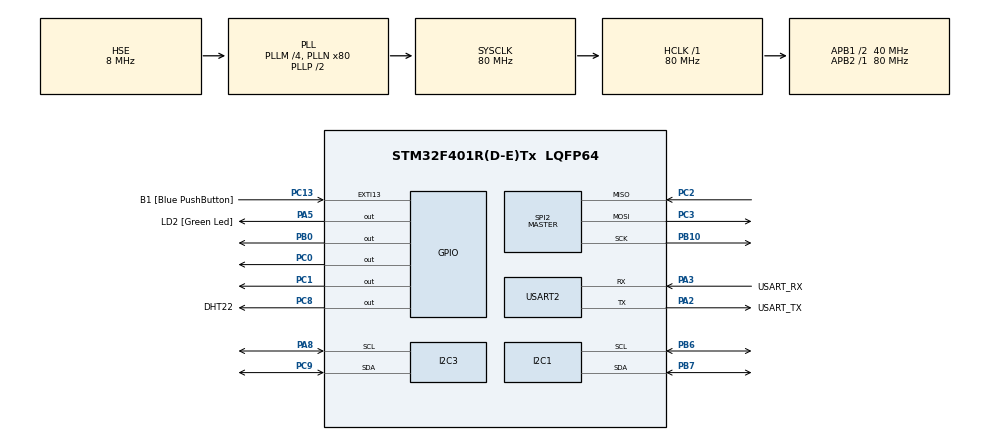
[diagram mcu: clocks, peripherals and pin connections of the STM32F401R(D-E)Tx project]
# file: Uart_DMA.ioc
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Mcu.Family=STM32F4
PC3.Mode=Full_Duplex_Master
PA2.GPIO_PuPd=GPIO_NOPULL
RCC.CortexFreq_Value=80000000
SPI2.VirtualType=VM_MASTER
PB10.Mode=Full_Duplex_Master
PA14.GPIO_Label=TCK
PA3.GPIO_PuPd=GPIO_NOPULL
PA2.GPIO_Speed=GPIO_SPEED_FREQ_LOW
PA3.GPIO_Speed=GPIO_SPEED_FREQ_LOW
RCC.SYSCLKSource=RCC_SYSCLKSOURCE_PLLCLK
ProjectManager.StackSize=0x400
PH0\ -\ OSC_IN.Signal=RCC_OSC_IN
Dma.USART2_RX.0.Priority=DMA_PRIORITY_LOW
Dma.USART2_RX.0.PeriphDataAlignment=DMA_PDATAALIGN_BYTE
RCC.HCLKFreq_Value=80000000
RCC.APB2TimFreq_Value=80000000
TIM3.Period=0xFFFF
PB6.Signal=I2C1_SCL
PB6.Mode=I2C
PC3.Signal=SPI2_MOSI
RCC.AHBFreq_Value=80000000
RCC.HSE_VALUE=8000000
PC13-ANTI_TAMP.Signal=GPXTI13
Dma.USART2_RX.0.MemDataAlignment=DMA_MDATAALIGN_BYTE
PC14-OSC32_IN.Mode=LSE-External-Oscillator
PA14.Mode=Serial_Wire
TIM3.Prescaler=83
PA5.GPIO_PuPd=GPIO_NOPULL
NVIC.TIM2_IRQn=true\:0\:0\:false\:false\:true\:true\:true
Dma.USART2_RX.0.Instance=DMA1_Stream5
PC9.Mode=I2C
PB7.Signal=I2C1_SDA
PA8.Signal=I2C3_SCL
Mcu.Package=LQFP64
TIM2.Prescaler=83
SPI2.Mode=SPI_MODE_MASTER
Dma.USART2_RX.0.PeriphInc=DMA_PINC_DISABLE
USART2.VirtualMode=VM_ASYNC
Dma.USART2_RX.0.FIFOMode=DMA_FIFOMODE_DISABLE
PA2.GPIO_Label=USART_TX
RCC.APB1TimFreq_Value=80000000
SPI2.Direction=SPI_DIRECTION_2LINES
Dma.Request0=USART2_RX
VP_TIM3_VS_ClockSourceINT.Mode=Internal
PA3.Signal=USART2_RX
PA2.GPIO_Mode=GPIO_MODE_AF_PP
PB3.GPIO_Label=SWO
RCC.PLLSourceVirtual=RCC_PLLSOURCE_HSE
PC15-OSC32_OUT.Mode=LSE-External-Oscillator
PC13-ANTI_TAMP.GPIO_PuPd=GPIO_NOPULL
PC13-ANTI_TAMP.GPIO_Label=B1 [Blue PushButton]
PH1\ -\ OSC_OUT.Mode=HSE-External-Oscillator
PC8.Signal=GPIO_Output
PC2.Signal=SPI2_MISO
Dma.USART2_RX.0.Direction=DMA_PERIPH_TO_MEMORY
PC2.Mode=Full_Duplex_Master
PC0.Signal=GPIO_Output
RCC.APB1CLKDivider=RCC_HCLK_DIV2
PC14-OSC32_IN.Signal=RCC_OSC32_IN
Dma.USART2_RX.0.Mode=DMA_NORMAL
PC8.GPIO_Label=DHT22
PA13.Signal=SYS_JTMS-SWDIO
PA3.Mode=Asynchronous
PH0\ -\ OSC_IN.Mode=HSE-External-Oscillator
ProjectManager.TargetToolchain=TrueSTUDIO
NVIC.DMA1_Stream5_IRQn=true\:0\:0\:false\:false\:true\:false\:true
PA3.GPIO_Mode=GPIO_MODE_AF_PP
PC15-OSC32_OUT.Signal=RCC_OSC32_OUT
PB10.Signal=SPI2_SCK
PA5.Signal=GPIO_Output
PH1\ -\ OSC_OUT.Signal=RCC_OSC_OUT
board=NUCLEO-F401RE
RCC.VCOOutputFreq_Value=160000000
NVIC.TIM3_IRQn=true\:0\:0\:false\:false\:true\:true\:true
RCC.APB2Freq_Value=80000000
VP_TIM2_VS_ClockSourceINT.Mode=Internal
TIM2.Period=0xffff
PA13.Mode=Serial_Wire
Mcu.Name=STM32F401R(D-E)Tx
Dma.USART2_RX.0.MemInc=DMA_MINC_ENABLE
PA2.Signal=USART2_TX
PA13.GPIO_Label=TMS
RCC.48MHZClocksFreq_Value=22857142.85714286
PB3.Signal=SYS_JTDO-SWO
RCC.SYSCLKFreq_VALUE=80000000
PA5.GPIO_Label=LD2 [Green Led]
PC13-ANTI_TAMP.GPIO_ModeDefaultEXTI=GPIO_MODE_IT_FALLING
PB7.Mode=I2C
PA14.Signal=SYS_JTCK-SWCLK
ProjectManager.HeapSize=0x200
RCC.HSI_VALUE=16000000
PA5.GPIO_Speed=GPIO_SPEED_FREQ_LOW
RCC.PLLQ=7
NVIC.PriorityGroup=NVIC_PRIORITYGROUP_0
RCC.PLLM=4
RCC.PLLN=80
PA2.Mode=Asynchronous
PA8.Mode=I2C
PC9.Signal=I2C3_SDA
RCC.APB1Freq_Value=40000000
PA5.GPIO_Mode=GPIO_MODE_OUTPUT_PP
PB0.Signal=GPIO_Output
PC1.Signal=GPIO_Output
PA3.GPIO_Label=USART_RX

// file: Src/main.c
/* USER CODE BEGIN Header */
/**
  ******************************************************************************
  * @file           : main.c
  * @brief          : Main program body
  ******************************************************************************
  * @attention
  *
  * <h2><center>&copy; Copyright (c) 2020 STMicroelectronics.
  * All rights reserved.</center></h2>
  *
  * This software component is licensed by ST under BSD 3-Clause license,
  * the "License"; You may not use this file except in compliance with the
  * License. You may obtain a copy of the License at:
  *                        opensource.org/licenses/BSD-3-Clause
  *
  ******************************************************************************
  */
/* USER CODE END Header */

#include "main.h"

/* USER CODE BEGIN Includes */
#include <string.h>
#include "st7735.h"
#include "fonts.h"
#include "testimg.h"
#include "parsemsg.h"
/* USER CODE END Includes */

/* USER CODE BEGIN PM */
uint8_t byte1,byte2[28];

/* USER CODE END PM */

I2C_HandleTypeDef hi2c1;
I2C_HandleTypeDef hi2c3;

SPI_HandleTypeDef hspi2;

TIM_HandleTypeDef htim2;
TIM_HandleTypeDef htim3;

UART_HandleTypeDef huart2;
DMA_HandleTypeDef hdma_usart2_rx;

void SystemClock_Config(void);
static void MX_GPIO_Init(void);
static void MX_DMA_Init(void);
static void MX_SPI2_Init(void);
static void MX_USART2_UART_Init(void);
static void MX_I2C1_Init(void);
static void MX_I2C3_Init(void);
static void MX_TIM2_Init(void);
static void MX_TIM3_Init(void);

/* USER CODE BEGIN 0 */

void init() {
    ST7735_Init();

    const char ready[] = "Ready!\r\n";
    HAL_UART_Transmit(&huart2, (uint8_t*)ready, sizeof(ready)-1, HAL_MAX_DELAY);
}
void loop() {
    // Check border
    ST7735_FillScreen(ST7735_BLACK);

    for(int x = 0; x < ST7735_WIDTH; x++) {
        ST7735_DrawPixel(x, 0, ST7735_RED);
        ST7735_DrawPixel(x, ST7735_HEIGHT-1, ST7735_RED);
    }

    for(int y = 0; y < ST7735_HEIGHT; y++) {
        ST7735_DrawPixel(0, y, ST7735_RED);
        ST7735_DrawPixel(ST7735_WIDTH-1, y, ST7735_RED);
    }

    HAL_Delay(3000);

    // Check fonts
    ST7735_FillScreen(ST7735_BLACK);
    ST7735_WriteString(0, 0, "Font_7x10, red on black, lorem ipsum dolor sit amet", Font_7x10, ST7735_RED, ST7735_BLACK);
    ST7735_WriteString(0, 3*10, "Font_11x18, green, lorem ipsum", Font_11x18, ST7735_GREEN, ST7735_BLACK);
    ST7735_WriteString(0, 3*10+3*18, "Font_16x26", Font_16x26, ST7735_BLUE, ST7735_BLACK);
    HAL_Delay(2000);

    // Check colors
    ST7735_FillScreen(ST7735_BLACK);
    ST7735_WriteString(0, 0, "BLACK", Font_11x18, ST7735_WHITE, ST7735_BLACK);
    HAL_Delay(500);

    ST7735_FillScreen(ST7735_BLUE);
    ST7735_WriteString(0, 0, "BLUE", Font_11x18, ST7735_BLACK, ST7735_BLUE);
    HAL_Delay(500);

    ST7735_FillScreen(ST7735_RED);
    ST7735_WriteString(0, 0, "RED", Font_11x18, ST7735_BLACK, ST7735_RED);
    HAL_Delay(500);

    ST7735_FillScreen(ST7735_GREEN);
    ST7735_WriteString(0, 0, "GREEN", Font_11x18, ST7735_BLACK, ST7735_GREEN);
    HAL_Delay(500);

    ST7735_FillScreen(ST7735_CYAN);
    ST7735_WriteString(0, 0, "CYAN", Font_11x18, ST7735_BLACK, ST7735_CYAN);
    HAL_Delay(500);

    ST7735_FillScreen(ST7735_MAGENTA);
    ST7735_WriteString(0, 0, "MAGENTA", Font_11x18, ST7735_BLACK, ST7735_MAGENTA);
    HAL_Delay(500);

    ST7735_FillScreen(ST7735_YELLOW);
    ST7735_WriteString(0, 0, "YELLOW", Font_11x18, ST7735_BLACK, ST7735_YELLOW);
    HAL_Delay(500);

    ST7735_FillScreen(ST7735_WHITE);
    ST7735_WriteString(0, 0, "WHITE", Font_11x18, ST7735_BLACK, ST7735_WHITE);
    HAL_Delay(500);

#ifdef ST7735_IS_128X128
    // Display test image 128x128
    ST7735_DrawImage(0, 0, ST7735_WIDTH, ST7735_HEIGHT, (uint16_t*)test_img_128x128);
    ST7735_WriteString(0, 0, "hello Mohamed", Font_7x10, ST7735_BLACK, ST7735_YELLOW);
    HAL_Delay(500);
/*
    // Display test image 128x128 pixel by pixel
    for(int x = 0; x < ST7735_WIDTH; x++) {
        for(int y = 0; y < ST7735_HEIGHT; y++) {
            uint16_t color565 = test_img_128x128[y][x];
            // fix endiness
            color565 = ((color565 & 0xFF00) >> 8) | ((color565 & 0xFF) << 8);
            ST7735_DrawPixel(x, y, color565);
        }
    }
*/
    HAL_Delay(15000);
#endif // ST7735_IS_128X128

}
uint16_t flag_dma=0;

#if (defined(__GNUC__) && !defined(__CC_ARM))
/* With GCC/RAISONANCE, small printf (option LD Linker->Libraries->Small printf
   set to 'Yes') calls __io_putchar() */
#define PUTCHAR_PROTOTYPE int __io_putchar(int ch)
#define GETCHAR_PROTOTYPE int __io_getchar(void)
#else
#define PUTCHAR_PROTOTYPE int fputc(int ch, FILE *f)
#define GETCHAR_PROTOTYPE int fgetc(FILE *f)
#endif /* __GNUC__ */

/**
  * @brief  Retargets the C library printf function to the USART.
  * @param  None
  * @retval None
  */
PUTCHAR_PROTOTYPE
{
  /* Place your implementation of fputc here */
  /* e.g. write a character to the USART2 and Loop until the end of transmission */
  while (HAL_OK != HAL_UART_Transmit(&huart2, (uint8_t *) &ch, 1, 30000))
  {
    ;
  }
  return ch;
}

/**
  * @brief  Retargets the C library scanf function to the USART.
  * @param  None
  * @retval None
  */
GETCHAR_PROTOTYPE
{
  /* Place your implementation of fgetc here */
  /* e.g. read a character on USART and loop until the end of read */
  uint8_t ch = 0;
  while (HAL_OK != HAL_UART_Receive(&huart2, (uint8_t *)&ch, 1, 30000))
  {
    ;
  }
  return ch;
}

/* USER CODE END 0 */

int main(void)
{
  /* USER CODE BEGIN 1 */
	uint8_t i[100];

  /* USER CODE END 1 */

  /* MCU Configuration--------------------------------------------------------*/

  /* Reset of all peripherals, Initializes the Flash interface and the Systick. */
  HAL_Init();

  /* Configure the system clock */
  SystemClock_Config();

  /* USER CODE BEGIN SysInit */
	char buffer[1999];

  /* USER CODE END SysInit */

  /* Initialize all configured peripherals */
  MX_GPIO_Init();
  MX_DMA_Init();
  MX_SPI2_Init();
  MX_USART2_UART_Init();
  MX_I2C1_Init();
  MX_I2C3_Init();
  MX_TIM2_Init();
  MX_TIM3_Init();
  /* USER CODE BEGIN 2 */
  init();
  sprintf(i,"MCU ID = %d",HAL_GetDEVID);
  HAL_UART_Transmit(&huart2,i,strlen(i),100);
  HAL_UART_Transmit(&huart2,"\n\r",2,100);

  HAL_UART_Receive_DMA(&huart2, &byte2, sizeof(byte2)-1);
  /* USER CODE END 2 */

  /* Infinite loop */
  /* USER CODE BEGIN WHILE */
  while (1)
  {
if(flag_dma!=0){
	//HAL_UART_Transmit(&huart2,byte2, 28,100);
	HAL_GPIO_TogglePin(LD2_GPIO_Port,LD2_Pin);
	at_wait_msg(byte2);
	flag_dma=0;
    memset(byte2, -1, sizeof(char));
}
HAL_Delay(1);
    /* USER CODE END WHILE */

    /* USER CODE BEGIN 3 */
  }
  return 0;
  /* USER CODE END 3 */
}

void SystemClock_Config(void)
{
  RCC_OscInitTypeDef RCC_OscInitStruct = {0};
  RCC_ClkInitTypeDef RCC_ClkInitStruct = {0};

  /** Configure the main internal regulator output voltage
  */
  __HAL_RCC_PWR_CLK_ENABLE();
  __HAL_PWR_VOLTAGESCALING_CONFIG(PWR_REGULATOR_VOLTAGE_SCALE2);
  /** Initializes the CPU, AHB and APB busses clocks
  */
  RCC_OscInitStruct.OscillatorType = RCC_OSCILLATORTYPE_HSE;
  RCC_OscInitStruct.HSEState = RCC_HSE_ON;
  RCC_OscInitStruct.PLL.PLLState = RCC_PLL_ON;
  RCC_OscInitStruct.PLL.PLLSource = RCC_PLLSOURCE_HSE;
  RCC_OscInitStruct.PLL.PLLM = 4;
  RCC_OscInitStruct.PLL.PLLN = 80;
  RCC_OscInitStruct.PLL.PLLP = RCC_PLLP_DIV2;
  RCC_OscInitStruct.PLL.PLLQ = 7;
  if (HAL_RCC_OscConfig(&RCC_OscInitStruct) != HAL_OK)
  {
    Error_Handler();
  }
  /** Initializes the CPU, AHB and APB busses clocks
  */
  RCC_ClkInitStruct.ClockType = RCC_CLOCKTYPE_HCLK|RCC_CLOCKTYPE_SYSCLK
                              |RCC_CLOCKTYPE_PCLK1|RCC_CLOCKTYPE_PCLK2;
  RCC_ClkInitStruct.SYSCLKSource = RCC_SYSCLKSOURCE_PLLCLK;
  RCC_ClkInitStruct.AHBCLKDivider = RCC_SYSCLK_DIV1;
  RCC_ClkInitStruct.APB1CLKDivider = RCC_HCLK_DIV2;
  RCC_ClkInitStruct.APB2CLKDivider = RCC_HCLK_DIV1;

  if (HAL_RCC_ClockConfig(&RCC_ClkInitStruct, FLASH_LATENCY_2) != HAL_OK)
  {
    Error_Handler();
  }
}

static void MX_I2C1_Init(void)
{

  hi2c1.Instance = I2C1;
  hi2c1.Init.ClockSpeed = 100000;
  hi2c1.Init.DutyCycle = I2C_DUTYCYCLE_2;
  hi2c1.Init.OwnAddress1 = 0;
  hi2c1.Init.AddressingMode = I2C_ADDRESSINGMODE_7BIT;
  hi2c1.Init.DualAddressMode = I2C_DUALADDRESS_DISABLE;
  hi2c1.Init.OwnAddress2 = 0;
  hi2c1.Init.GeneralCallMode = I2C_GENERALCALL_DISABLE;
  hi2c1.Init.NoStretchMode = I2C_NOSTRETCH_DISABLE;
  if (HAL_I2C_Init(&hi2c1) != HAL_OK)
  {
    Error_Handler();
  }

}

static void MX_I2C3_Init(void)
{

  hi2c3.Instance = I2C3;
  hi2c3.Init.ClockSpeed = 100000;
  hi2c3.Init.DutyCycle = I2C_DUTYCYCLE_2;
  hi2c3.Init.OwnAddress1 = 0;
  hi2c3.Init.AddressingMode = I2C_ADDRESSINGMODE_7BIT;
  hi2c3.Init.DualAddressMode = I2C_DUALADDRESS_DISABLE;
  hi2c3.Init.OwnAddress2 = 0;
  hi2c3.Init.GeneralCallMode = I2C_GENERALCALL_DISABLE;
  hi2c3.Init.NoStretchMode = I2C_NOSTRETCH_DISABLE;
  if (HAL_I2C_Init(&hi2c3) != HAL_OK)
  {
    Error_Handler();
  }

}

static void MX_SPI2_Init(void)
{

  /* SPI2 parameter configuration*/
  hspi2.Instance = SPI2;
  hspi2.Init.Mode = SPI_MODE_MASTER;
  hspi2.Init.Direction = SPI_DIRECTION_2LINES;
  hspi2.Init.DataSize = SPI_DATASIZE_8BIT;
  hspi2.Init.CLKPolarity = SPI_POLARITY_LOW;
  hspi2.Init.CLKPhase = SPI_PHASE_1EDGE;
  hspi2.Init.NSS = SPI_NSS_SOFT;
  hspi2.Init.BaudRatePrescaler = SPI_BAUDRATEPRESCALER_2;
  hspi2.Init.FirstBit = SPI_FIRSTBIT_MSB;
  hspi2.Init.TIMode = SPI_TIMODE_DISABLE;
  hspi2.Init.CRCCalculation = SPI_CRCCALCULATION_DISABLE;
  hspi2.Init.CRCPolynomial = 10;
  if (HAL_SPI_Init(&hspi2) != HAL_OK)
  {
    Error_Handler();
  }

}

static void MX_TIM2_Init(void)
{

  TIM_ClockConfigTypeDef sClockSourceConfig = {0};
  TIM_MasterConfigTypeDef sMasterConfig = {0};

  htim2.Instance = TIM2;
  htim2.Init.Prescaler = 83;
  htim2.Init.CounterMode = TIM_COUNTERMODE_UP;
  htim2.Init.Period = 0xffff;
  htim2.Init.ClockDivision = TIM_CLOCKDIVISION_DIV1;
  htim2.Init.AutoReloadPreload = TIM_AUTORELOAD_PRELOAD_DISABLE;
  if (HAL_TIM_Base_Init(&htim2) != HAL_OK)
  {
    Error_Handler();
  }
  sClockSourceConfig.ClockSource = TIM_CLOCKSOURCE_INTERNAL;
  if (HAL_TIM_ConfigClockSource(&htim2, &sClockSourceConfig) != HAL_OK)
  {
    Error_Handler();
  }
  sMasterConfig.MasterOutputTrigger = TIM_TRGO_RESET;
  sMasterConfig.MasterSlaveMode = TIM_MASTERSLAVEMODE_DISABLE;
  if (HAL_TIMEx_MasterConfigSynchronization(&htim2, &sMasterConfig) != HAL_OK)
  {
    Error_Handler();
  }

}

static void MX_TIM3_Init(void)
{

  TIM_ClockConfigTypeDef sClockSourceConfig = {0};
  TIM_MasterConfigTypeDef sMasterConfig = {0};

  htim3.Instance = TIM3;
  htim3.Init.Prescaler = 83;
  htim3.Init.CounterMode = TIM_COUNTERMODE_UP;
  htim3.Init.Period = 0xFFFF;
  htim3.Init.ClockDivision = TIM_CLOCKDIVISION_DIV1;
  htim3.Init.AutoReloadPreload = TIM_AUTORELOAD_PRELOAD_DISABLE;
  if (HAL_TIM_Base_Init(&htim3) != HAL_OK)
  {
    Error_Handler();
  }
  sClockSourceConfig.ClockSource = TIM_CLOCKSOURCE_INTERNAL;
  if (HAL_TIM_ConfigClockSource(&htim3, &sClockSourceConfig) != HAL_OK)
  {
    Error_Handler();
  }
  sMasterConfig.MasterOutputTrigger = TIM_TRGO_RESET;
  sMasterConfig.MasterSlaveMode = TIM_MASTERSLAVEMODE_DISABLE;
  if (HAL_TIMEx_MasterConfigSynchronization(&htim3, &sMasterConfig) != HAL_OK)
  {
    Error_Handler();
  }

}

static void MX_USART2_UART_Init(void)
{

  huart2.Instance = USART2;
  huart2.Init.BaudRate = 115200;
  huart2.Init.WordLength = UART_WORDLENGTH_8B;
  huart2.Init.StopBits = UART_STOPBITS_1;
  huart2.Init.Parity = UART_PARITY_NONE;
  huart2.Init.Mode = UART_MODE_TX_RX;
  huart2.Init.HwFlowCtl = UART_HWCONTROL_NONE;
  huart2.Init.OverSampling = UART_OVERSAMPLING_16;
  if (HAL_UART_Init(&huart2) != HAL_OK)
  {
    Error_Handler();
  }

}

static void MX_DMA_Init(void)
{

  /* DMA controller clock enable */
  __HAL_RCC_DMA1_CLK_ENABLE();

  /* DMA interrupt init */
  /* DMA1_Stream5_IRQn interrupt configuration */
  HAL_NVIC_SetPriority(DMA1_Stream5_IRQn, 0, 0);
  HAL_NVIC_EnableIRQ(DMA1_Stream5_IRQn);

}

static void MX_GPIO_Init(void)
{
  GPIO_InitTypeDef GPIO_InitStruct = {0};

  /* GPIO Ports Clock Enable */
  __HAL_RCC_GPIOC_CLK_ENABLE();
  __HAL_RCC_GPIOH_CLK_ENABLE();
  __HAL_RCC_GPIOA_CLK_ENABLE();
  __HAL_RCC_GPIOB_CLK_ENABLE();

  /*Configure GPIO pin Output Level */
  HAL_GPIO_WritePin(GPIOC, GPIO_PIN_0|GPIO_PIN_1|DHT22_Pin, GPIO_PIN_RESET);

  /*Configure GPIO pin Output Level */
  HAL_GPIO_WritePin(LD2_GPIO_Port, LD2_Pin, GPIO_PIN_RESET);

  /*Configure GPIO pin Output Level */
  HAL_GPIO_WritePin(GPIOB, GPIO_PIN_0, GPIO_PIN_RESET);

  /*Configure GPIO pin : B1_Pin */
  GPIO_InitStruct.Pin = B1_Pin;
  GPIO_InitStruct.Mode = GPIO_MODE_IT_FALLING;
  GPIO_InitStruct.Pull = GPIO_NOPULL;
  HAL_GPIO_Init(B1_GPIO_Port, &GPIO_InitStruct);

  /*Configure GPIO pins : PC0 PC1 DHT22_Pin */
  GPIO_InitStruct.Pin = GPIO_PIN_0|GPIO_PIN_1|DHT22_Pin;
  GPIO_InitStruct.Mode = GPIO_MODE_OUTPUT_PP;
  GPIO_InitStruct.Pull = GPIO_NOPULL;
  GPIO_InitStruct.Speed = GPIO_SPEED_FREQ_LOW;
  HAL_GPIO_Init(GPIOC, &GPIO_InitStruct);

  /*Configure GPIO pin : LD2_Pin */
  GPIO_InitStruct.Pin = LD2_Pin;
  GPIO_InitStruct.Mode = GPIO_MODE_OUTPUT_PP;
  GPIO_InitStruct.Pull = GPIO_NOPULL;
  GPIO_InitStruct.Speed = GPIO_SPEED_FREQ_LOW;
  HAL_GPIO_Init(LD2_GPIO_Port, &GPIO_InitStruct);

  /*Configure GPIO pin : PB0 */
  GPIO_InitStruct.Pin = GPIO_PIN_0;
  GPIO_InitStruct.Mode = GPIO_MODE_OUTPUT_PP;
  GPIO_InitStruct.Pull = GPIO_NOPULL;
  GPIO_InitStruct.Speed = GPIO_SPEED_FREQ_LOW;
  HAL_GPIO_Init(GPIOB, &GPIO_InitStruct);

}

/* USER CODE BEGIN 4 */
void HAL_UART_TxCpltCallback(UART_HandleTypeDef *huart)
{
//	  UartReady = SET;

}
void HAL_UART_RxCpltCallback(UART_HandleTypeDef *huart)

{

	/* UartReady = SET;
	 byte2[0]=byte1;
	  HAL_UART_Receive_DMA(&huart2, &byte1, 1);
*/
      flag_dma=1;

	  HAL_UART_Receive_DMA(&huart2, &byte2,sizeof(byte2));

}
/* USER CODE END 4 */

void Error_Handler(void)
{
}

/************************ (C) COPYRIGHT STMicroelectronics *****END OF FILE****/
